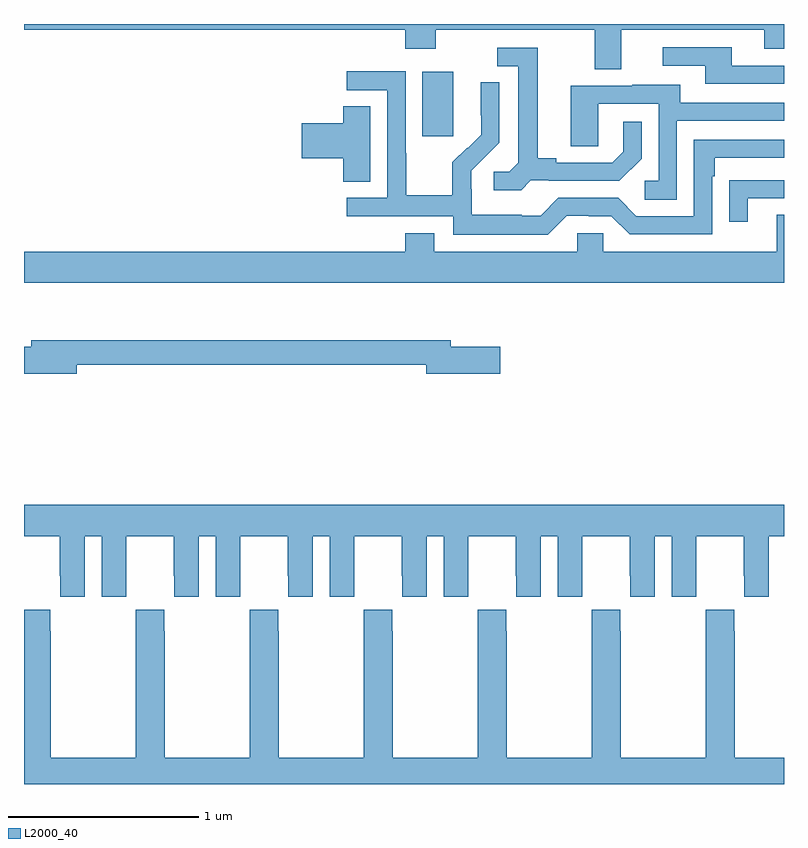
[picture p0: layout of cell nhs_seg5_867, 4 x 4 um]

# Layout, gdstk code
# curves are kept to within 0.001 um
import gdstk
lib = gdstk.Library(unit=1e-6, precision=1e-09)
def R(c, l, rs):  # rectangles x0, y0, x1, y1
    for r in rs: c.add(gdstk.rectangle(r[:2], r[2:], *l))
def P(c, l, *ps):  # polygons
    for p in ps: c.add(gdstk.Polygon(p, *l))
L2000_40 = (2000, 40)

nhs_seg5_867 = lib.new_cell('nhs_seg5_867')
R(nhs_seg5_867, L2000_40, [(169.097,848.208,169.258,848.548)])
P(nhs_seg5_867, L2000_40, [(170.143,848.768),(170.897,848.768),(170.897,848.669),(171,848.669),(171,848.799),(167,848.799),(167,848.768),(169.007,848.768),(169.007,848.669),(169.167,848.669),(169.167,848.768),(170.003,848.768),(170.003,848.56),(170.143,848.56)],
  [(171,848.58),(170.725,848.58),(170.725,848.676),(170.361,848.676),(170.361,848.58),(170.585,848.58),(170.585,848.484),(171,848.484)],
  [(169.668,847.977),(169.762,847.977),(169.762,847.974),(170.134,847.974),(170.25,848.09),(170.25,848.284),(170.153,848.284),(170.153,848.127),(170.096,848.07),(169.801,848.07),(169.801,848.093),(169.705,848.093),(169.705,848.673),(169.491,848.673),(169.491,848.577),(169.601,848.577),(169.601,848.069),(169.554,848.022),(169.473,848.022),(169.473,847.925),(169.616,847.925)],
  [(169.857,847.791),(169.973,847.791),(169.973,847.788),(170.091,847.788),(170.187,847.692),(170.622,847.692),(170.622,847.997),(170.635,847.997),(170.635,848.094),(171,848.094),(171,848.19),(170.526,848.19),(170.526,847.788),(170.223,847.788),(170.127,847.884),(169.812,847.884),(169.719,847.791),(169.619,847.791),(169.619,847.795),(169.356,847.795),(169.356,847.929),(169.354,847.929),(169.354,848.026),(169.5,848.174),(169.5,848.492),(169.403,848.492),(169.403,848.32),(169.406,848.32),(169.406,848.216),(169.335,848.145),(169.332,848.148),(169.255,848.071),(169.255,847.897),(169.011,847.897),(169.011,848.12),(169.008,848.12),(169.008,848.55),(168.699,848.55),(168.699,848.451),(168.912,848.451),(168.912,847.884),(168.699,847.884),(168.699,847.788),(169.26,847.788),(169.26,847.691),(169.757,847.691)],
  [(170.436,848.289),(171,848.289),(171,848.385),(170.455,848.385),(170.455,848.479),(170.201,848.479),(170.201,848.475),(169.877,848.475),(169.877,848.155),(170.022,848.155),(170.022,848.379),(170.34,848.379),(170.34,847.974),(170.268,847.974),(170.268,847.873),(170.436,847.873)],
  [(168.823,848.366),(168.68,848.366),(168.68,848.276),(168.462,848.276),(168.462,848.093),(168.68,848.093),(168.68,847.969),(168.823,847.969)],
  [(170.809,847.881),(171,847.881),(171,847.977),(170.815,847.977),(170.815,847.976),(170.713,847.976),(170.713,847.758),(170.809,847.758)],
  [(171,847.795),(170.963,847.795),(170.963,847.6),(170.049,847.6),(170.049,847.698),(169.911,847.698),(169.911,847.6),(169.159,847.6),(169.159,847.699),(169.007,847.699),(169.007,847.6),(167,847.6),(167,847.436),(171,847.436)],
  [(167.278,847.006),(169.118,847.006),(169.118,846.959),(169.507,846.959),(169.507,847.101),(169.246,847.101),(169.246,847.135),(167.039,847.135),(167.039,847.101),(167,847.101),(167,846.959),(167.278,846.959)],
  [(167.32,846.104),(167.408,846.104),(167.408,845.784),(167.538,845.784),(167.538,845.896),(167.539,845.896),(167.539,846.104),(167.789,846.104),(167.789,845.896),(167.79,845.896),(167.79,845.784),(167.92,845.784),(167.92,846.104),(168.008,846.104),(168.008,845.784),(168.138,845.784),(168.138,845.896),(168.139,845.896),(168.139,846.104),(168.389,846.104),(168.389,845.896),(168.39,845.896),(168.39,845.784),(168.52,845.784),(168.52,846.104),(168.608,846.104),(168.608,845.784),(168.738,845.784),(168.738,845.896),(168.739,845.896),(168.739,846.104),(168.989,846.104),(168.989,845.896),(168.99,845.896),(168.99,845.784),(169.12,845.784),(169.12,846.104),(169.208,846.104),(169.208,845.784),(169.338,845.784),(169.338,845.896),(169.339,845.896),(169.339,846.104),(169.589,846.104),(169.589,845.896),(169.59,845.896),(169.59,845.784),(169.72,845.784),(169.72,846.104),(169.808,846.104),(169.808,845.784),(169.938,845.784),(169.938,845.896),(169.939,845.896),(169.939,846.104),(170.189,846.104),(170.189,845.896),(170.19,845.896),(170.19,845.784),(170.32,845.784),(170.32,846.104),(170.408,846.104),(170.408,845.784),(170.538,845.784),(170.538,845.896),(170.539,845.896),(170.539,846.104),(170.789,846.104),(170.789,845.896),(170.79,845.896),(170.79,845.784),(170.92,845.784),(170.92,846.104),(171,846.104),(171,846.268),(167,846.268),(167,846.104),(167.189,846.104),(167.189,845.896),(167.19,845.896),(167.19,845.784),(167.32,845.784)],
  [(171,844.936),(170.742,844.936),(170.742,845.603),(170.739,845.603),(170.739,845.716),(170.589,845.716),(170.589,845.603),(170.587,845.603),(170.587,844.936),(170.142,844.936),(170.142,845.603),(170.139,845.603),(170.139,845.716),(169.989,845.716),(169.989,845.603),(169.987,845.603),(169.987,844.936),(169.542,844.936),(169.542,845.603),(169.539,845.603),(169.539,845.716),(169.389,845.716),(169.389,845.603),(169.387,845.603),(169.387,844.936),(168.942,844.936),(168.942,845.603),(168.939,845.603),(168.939,845.716),(168.789,845.716),(168.789,845.603),(168.787,845.603),(168.787,844.936),(168.342,844.936),(168.342,845.603),(168.339,845.603),(168.339,845.716),(168.189,845.716),(168.189,845.603),(168.187,845.603),(168.187,844.936),(167.742,844.936),(167.742,845.603),(167.739,845.603),(167.739,845.716),(167.589,845.716),(167.589,845.603),(167.587,845.603),(167.587,844.936),(167.142,844.936),(167.142,845.603),(167.139,845.603),(167.139,845.716),(167,845.716),(167,844.799),(171,844.799)])

lib.write_gds('nhs_seg5_867.gds')
